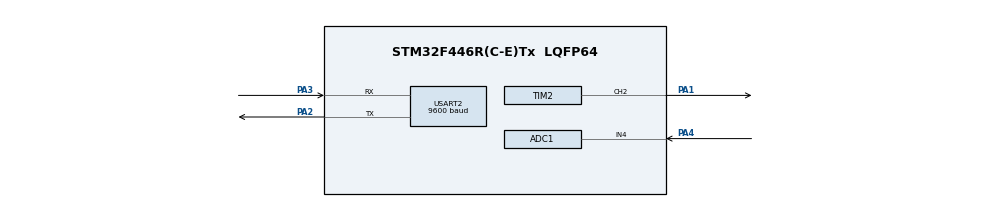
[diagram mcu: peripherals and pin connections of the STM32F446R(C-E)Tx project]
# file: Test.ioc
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ADC1.Channel-1\#ChannelRegularConversion=ADC_CHANNEL_4
ADC1.NbrOfConversionFlag=1
ADC1.Rank-1\#ChannelRegularConversion=1
ADC1.SamplingTime-1\#ChannelRegularConversion=ADC_SAMPLETIME_3CYCLES
ADC1.master=1
Mcu.Family=STM32F4
Mcu.Name=STM32F446R(C-E)Tx
Mcu.Package=LQFP64
NVIC.PriorityGroup=NVIC_PRIORITYGROUP_4
PA1.Signal=S_TIM2_CH2
PA13.Mode=Serial_Wire
PA13.Signal=SYS_JTMS-SWDIO
PA14.Mode=Serial_Wire
PA14.Signal=SYS_JTCK-SWCLK
PA2.Mode=Asynchronous
PA2.Signal=USART2_TX
PA3.Mode=Asynchronous
PA3.Signal=USART2_RX
PA4.Signal=ADCx_IN4
ProjectManager.HeapSize=0x200
ProjectManager.StackSize=0x400
ProjectManager.TargetToolchain=STM32CubeIDE
RCC.CortexFreq_Value=16000000
RCC.USBFreq_Value=96000000
RCC.VCOOutputFreq_Value=192000000
SH.ADCx_IN4.0=ADC1_IN4,IN4
SH.S_TIM2_CH2.0=TIM2_CH2,PWM Generation2 CH2
TIM2.Channel-PWM\ Generation2\ CH2=TIM_CHANNEL_2
TIM2.Period=999
TIM2.Prescaler=15
TIM2.Pulse-PWM\ Generation2\ CH2=500
USART2.BaudRate=9600
USART2.VirtualMode=VM_ASYNC
board=custom

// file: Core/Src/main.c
/* USER CODE BEGIN Header */
/**
  ******************************************************************************
  * @file           : main.c
  * @brief          : Main program body
  ******************************************************************************
  * @attention
  *
  * Copyright (c) 2024 STMicroelectronics.
  * All rights reserved.
  *
  * This software is licensed under terms that can be found in the LICENSE file
  * in the root directory of this software component.
  * If no LICENSE file comes with this software, it is provided AS-IS.
  *
  ******************************************************************************
  */
/* USER CODE END Header */
#include "main.h"
#include "adc.h"
#include "tim.h"
#include "usart.h"
#include "gpio.h"

/* USER CODE BEGIN Includes */
#include <stdio.h>
#ifdef __GNUC__
#define PUTCHAR_PROTOTYPE int __io_putchar(int ch)
#define GETCHAR_PROTOTYPE int __io_getchar(void)
#else
#define PUTCHAR_PROTOTYPE int fputc(int ch, FILE *f)
#define GETCHAR_PROTOTYPE int fgetc(FILE *f)
#endif

PUTCHAR_PROTOTYPE
{
 HAL_UART_Transmit(&huart2, (uint8_t *)&ch, 1, HAL_MAX_DELAY);
 return ch;
}
GETCHAR_PROTOTYPE
{
 uint8_t ch = 0;
 __HAL_UART_CLEAR_OREFLAG(&huart2);
 HAL_UART_Receive(&huart2, (uint8_t *)&ch, 1, HAL_MAX_DELAY);
 HAL_UART_Transmit(&huart2, (uint8_t *)&ch, 1, HAL_MAX_DELAY);
 return ch;
}

/* USER CODE END Includes */

void SystemClock_Config(void);

int main(void)
{
  /* USER CODE BEGIN 1 */
	setvbuf(stdin, NULL, _IONBF, 0);
  /* USER CODE END 1 */

  /* MCU Configuration--------------------------------------------------------*/

  /* Reset of all peripherals, Initializes the Flash interface and the Systick. */
  HAL_Init();

  /* Configure the system clock */
  SystemClock_Config();

  /* Initialize all configured peripherals */
  MX_GPIO_Init();
  MX_TIM2_Init();
  MX_USART2_UART_Init();
  MX_ADC1_Init();
  /* USER CODE BEGIN 2 */

  //varijable
  uint16_t rawValue;
  uint16_t dutyCycle;

  HAL_TIM_PWM_Start(&htim2, TIM_CHANNEL_2);

  /* USER CODE END 2 */

  /* Infinite loop */
  /* USER CODE BEGIN WHILE */
  while (1)
  {
	  HAL_ADC_Start(&hadc1);

	  HAL_ADC_PollForConversion(&hadc1, HAL_MAX_DELAY);
	  //čitanje rezultata konverzije
	  rawValue = HAL_ADC_GetValue(&hadc1);
      //skaliranje rezultata konverzije
	  dutyCycle = (rawValue * 1000) / 4095;
	  //postavljanje duty cycle-a
	  __HAL_TIM_SET_COMPARE(&htim2, TIM_CHANNEL_2, dutyCycle);

	  printf("ADC rawValue: %d\r\n", rawValue);
	  HAL_Delay(1000);

    /* USER CODE END WHILE */

  }
}

void SystemClock_Config(void)
{
  RCC_OscInitTypeDef RCC_OscInitStruct = {0};
  RCC_ClkInitTypeDef RCC_ClkInitStruct = {0};

  /** Configure the main internal regulator output voltage
  */
  __HAL_RCC_PWR_CLK_ENABLE();
  __HAL_PWR_VOLTAGESCALING_CONFIG(PWR_REGULATOR_VOLTAGE_SCALE3);

  /** Initializes the RCC Oscillators according to the specified parameters
  * in the RCC_OscInitTypeDef structure.
  */
  RCC_OscInitStruct.OscillatorType = RCC_OSCILLATORTYPE_HSI;
  RCC_OscInitStruct.HSIState = RCC_HSI_ON;
  RCC_OscInitStruct.HSICalibrationValue = RCC_HSICALIBRATION_DEFAULT;
  RCC_OscInitStruct.PLL.PLLState = RCC_PLL_NONE;
  if (HAL_RCC_OscConfig(&RCC_OscInitStruct) != HAL_OK)
  {
    Error_Handler();
  }

  /** Initializes the CPU, AHB and APB buses clocks
  */
  RCC_ClkInitStruct.ClockType = RCC_CLOCKTYPE_HCLK|RCC_CLOCKTYPE_SYSCLK
                              |RCC_CLOCKTYPE_PCLK1|RCC_CLOCKTYPE_PCLK2;
  RCC_ClkInitStruct.SYSCLKSource = RCC_SYSCLKSOURCE_HSI;
  RCC_ClkInitStruct.AHBCLKDivider = RCC_SYSCLK_DIV1;
  RCC_ClkInitStruct.APB1CLKDivider = RCC_HCLK_DIV1;
  RCC_ClkInitStruct.APB2CLKDivider = RCC_HCLK_DIV1;

  if (HAL_RCC_ClockConfig(&RCC_ClkInitStruct, FLASH_LATENCY_0) != HAL_OK)
  {
    Error_Handler();
  }
}

void Error_Handler(void)
{
  __disable_irq();
  while (1)
  {
  }
}
